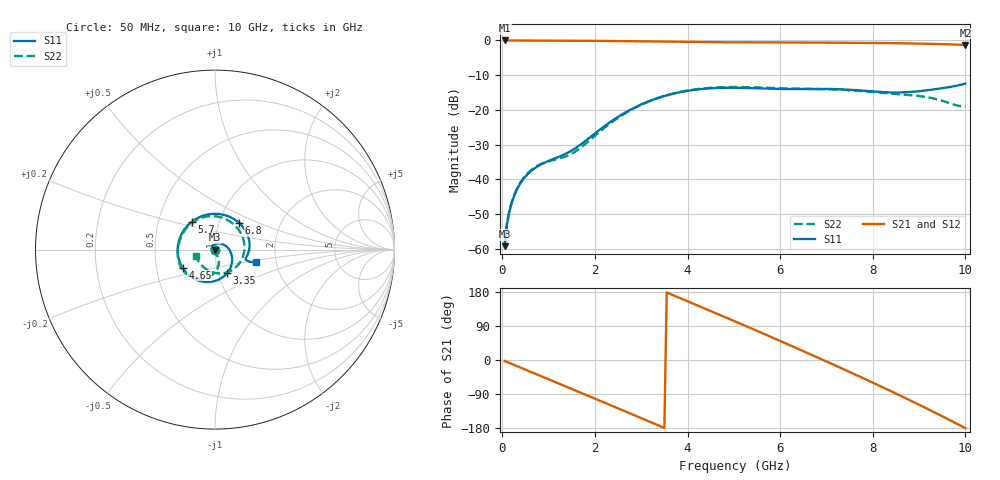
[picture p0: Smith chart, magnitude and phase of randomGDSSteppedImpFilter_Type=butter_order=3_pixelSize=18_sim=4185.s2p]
! freq	dB(S11)	phase(S11)	dB(S12)	phase(S12)
!  dB(S21)	phase(S21)	dB(S22)	phase(S22)
!S-par simulation data
#  GHz  S  DB  R 50
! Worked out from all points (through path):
!   200 points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, 50 MHz to 10 GHz, reference 50 ohm
!   highest |S21| = 0.00 dB at 50 MHz (marker M1); lowest = -1.3 dB at 10 GHz (marker M2)
!   group delay of S21, straight-line fit = 148 ps
!   lowest |S11| = -59.3 dB at 50 MHz (marker M3), VSWR 1.00, Z = 50 - j0.109 ohm
!   |S11| at or under -10 dB: start of sweep to end of sweep
!   |S22| runs from -58.8 to -13.4 dB; largest |S21 - S12| = 0
!   S11 on the Smith chart (normalised r, x): 50 MHz: 1.00, -0.00; 3.35 GHz: 1.10, -0.30; 4.65 GHz: 0.68, -0.14; 5.7 GHz: 0.74, +0.24; 6.8 GHz: 1.25, +0.38; 10 GHz: 1.57, -0.23
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0.05  -59.27 -88.8  -0.00 -2.6  -0.00 -2.6  -58.77 -86.5
0.1  -53.15 -94.1  -0.01 -5.2  -0.01 -5.2  -52.75 -88.8
0.2  -46.94 -103.2  -0.02 -10.2  -0.02 -10.2  -46.70 -90.7
0.45  -40.03 -126.8  -0.03 -23.0  -0.03 -23.0  -39.78 -95.4
1.15  -33.92 156.8  -0.07 -58.5  -0.07 -58.5  -34.30 -98.0
1.75  -29.41 75.8  -0.10 -89.1  -0.10 -89.1  -30.28 -73.7
2.45  -22.45 4.3  -0.17 -125.0  -0.17 -125.0  -22.75 -72.5
2.9  -19.06 -30.8  -0.23 -148.2  -0.23 -148.2  -19.19 -84.0
3.35  -16.63 -62.6  -0.31 -171.4  -0.31 -171.4  -16.66 -98.8
3.4  -16.41 -66.1  -0.32 -174.0  -0.32 -174.0  -16.43 -100.6
4  -14.52 -106.5  -0.42 155.0  -0.42 155.0  -14.44 -122.0
4.65  -13.69 -151.0  -0.51 121.5  -0.51 121.5  -13.52 -144.6
5.05  -13.64 -179.9  -0.54 100.6  -0.54 100.6  -13.41 -157.6
5.7  -13.89 130.2  -0.57 66.3  -0.57 66.3  -13.64 -176.9
6.25  -14.01 86.9  -0.59 36.9  -0.59 36.9  -13.87 166.7
6.7  -13.98 54.1  -0.61 12.5  -0.61 12.5  -13.97 150.6
6.8  -13.97 47.4  -0.62 7.0  -0.62 7.0  -13.99 146.4
7.5  -14.20 8.8  -0.67 -31.6  -0.67 -31.6  -14.36 109.4
8.35  -14.97 -14.6  -0.76 -79.8  -0.76 -79.8  -15.25 42.8
9.1  -14.47 -18.9  -0.93 -124.0  -0.93 -124.0  -16.19 -32.1
9.55  -13.66 -19.2  -1.08 -151.4  -1.08 -151.4  -17.58 -85.4
10  -12.43 -17.0  -1.29 -180.0  -1.29 -180.0  -18.97 -162.3
